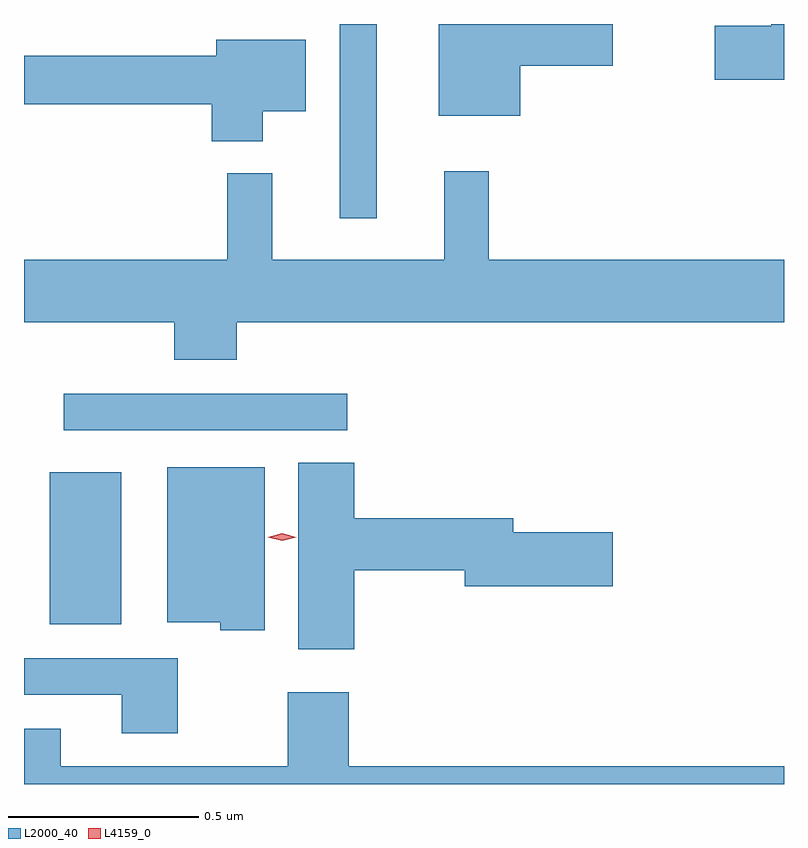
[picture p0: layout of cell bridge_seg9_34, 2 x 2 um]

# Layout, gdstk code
import gdstk
lib = gdstk.Library(unit=1e-6, precision=1e-09)
def R(c, l, rs):  # rectangles x0, y0, x1, y1
    for r in rs: c.add(gdstk.rectangle(r[:2], r[2:], *l))
def P(c, l, *ps):  # polygons
    for p in ps: c.add(gdstk.Polygon(p, *l))
L2000_40 = (2000, 40)
L4159_0 = (4159, 0)

bridge_seg9_34 = lib.new_cell('bridge_seg9_34')
R(bridge_seg9_34, L2000_40, [(984.098,1170.317,984.286,1170.718), (984.135,1170.828,984.88,1170.924), (984.861,1171.386,984.958,1171.897)])
P(bridge_seg9_34, L2000_40, [(986.03,1171.897),(985.997,1171.897),(985.997,1171.892),(985.848,1171.892),(985.848,1171.75),(986.03,1171.75)],
  [(985.336,1171.787),(985.579,1171.787),(985.579,1171.897),(985.121,1171.897),(985.121,1171.655),(985.336,1171.655)],
  [(984.658,1171.667),(984.772,1171.667),(984.772,1171.855),(984.536,1171.855),(984.536,1171.814),(984.03,1171.814),(984.03,1171.686),(984.524,1171.686),(984.524,1171.589),(984.658,1171.589)],
  [(984.59,1171.112),(986.03,1171.112),(986.03,1171.276),(985.253,1171.276),(985.253,1171.51),(985.136,1171.51),(985.136,1171.276),(984.683,1171.276),(984.683,1171.504),(984.565,1171.504),(984.565,1171.276),(984.03,1171.276),(984.03,1171.112),(984.425,1171.112),(984.425,1171.013),(984.59,1171.013)],
  [(984.899,1170.46),(985.19,1170.46),(985.19,1170.418),(985.579,1170.418),(985.579,1170.56),(985.318,1170.56),(985.318,1170.596),(984.899,1170.596),(984.899,1170.743),(984.752,1170.743),(984.752,1170.252),(984.899,1170.252)],
  [(984.664,1170.73),(984.407,1170.73),(984.407,1170.323),(984.546,1170.323),(984.546,1170.302),(984.664,1170.302)],
  [(984.435,1170.228),(984.03,1170.228),(984.03,1170.132),(984.287,1170.132),(984.287,1170.03),(984.435,1170.03)],
  [(986.03,1169.944),(984.884,1169.944),(984.884,1170.139),(984.724,1170.139),(984.724,1169.944),(984.127,1169.944),(984.127,1170.043),(984.03,1170.043),(984.03,1169.897),(986.03,1169.897)])
P(bridge_seg9_34, L4159_0, [(984.709,1170.537),(984.671,1170.546),(984.671,1170.546),(984.671,1170.547),(984.709,1170.557),(984.746,1170.547),(984.747,1170.547),(984.746,1170.546)])

lib.write_gds('bridge_seg9_34.gds')
